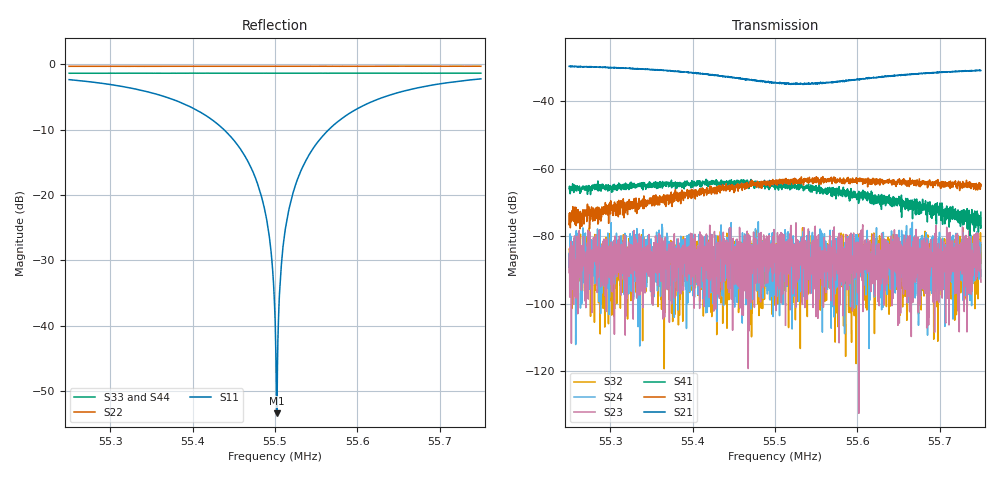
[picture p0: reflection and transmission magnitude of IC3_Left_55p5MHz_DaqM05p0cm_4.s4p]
#  HZ  S  DB  R  50.00
! Rohde & Schwarz Vector Network Analyzer
! Rohde-Schwarz,ZNB8-4Port,1311601044102961,2.82
! Created: UTC 2/13/2019, 9:21:15 AM
! freq[Hz]  db:S11  ang:S11  db:S12  ang:S12  db:S13  ang:S13  db:S14  ang:S14
!  db:S21  ang:S21  db:S22  ang:S22  db:S23  ang:S23  db:S24  ang:S24
!  db:S31  ang:S31  db:S32  ang:S32  db:S33  ang:S33  db:S34  ang:S34
!  db:S41  ang:S41  db:S42  ang:S42  db:S43  ang:S43  db:S44  ang:S44
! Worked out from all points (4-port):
!   2001 points, 55.25 MHz to 55.75 MHz, reference 50 ohm
!   strongest paths, dB at 55.25 MHz, 55.375 MHz, 55.5 MHz, 55.625 MHz, 55.75 MHz:
!     S21: -29.6, -30.9, -34.4, -32.8, -30.8
!     S31: -73.3, -71.1, -63.9, -63.4, -65.1
!     S41: -65.9, -64.8, -63.5, -68.2, -72.9
!     S23: -90.8, -83.1, -86.5, -91.9, -93.6
!     S24: -89.2, -94.1, -86.4, -89.1, -92.1
!     S32: -83.8, -98.6, -87.1, -83.6, -82.5
!   lowest |S11| = -53.4 dB at 55.5022 MHz (marker M1), VSWR 1.00, Z = 49.9 - j0.202 ohm
!   |S11| at or under -10 dB: 55.43783 MHz to 55.56543 MHz (127.6 kHz wide, 0.23 % of centre)
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5.525e7  -2.37 -141.9  -29.45 68.2  -76.70 -4.9  -66.40 -154.4
         -29.56 68.5  -0.33 94.2  -90.79 77.6  -89.20 -103.6
         -73.30 -8.2  -83.79 102.2  -1.39 34.9  -82.80 169.6
         -65.88 -152.3  -91.42 -31.3  -93.60 35.5  -1.39 28.5
5.54535e7  -12.19 167.8  -32.95 55.3  -65.32 -35.1  -64.95 163.3
           -33.04 55.4  -0.32 90.5  -86.19 -43.6  -89.92 52.6
           -65.02 -36.6  -83.79 -172.3  -1.38 32.5  -85.21 42.0
           -64.66 159.0  -77.41 -14.7  -109.38 -83.8  -1.37 26.0
5.5489e7  -23.19 155.6  -34.05 59.8  -63.67 -51.9  -65.46 153.5
          -34.20 59.9  -0.33 89.9  -88.68 -123.6  -83.29 136.7
          -64.88 -50.7  -93.56 -32.4  -1.38 32.0  -87.00 132.9
          -64.52 150.3  -84.02 65.9  -92.82 -18.5  -1.37 25.5
5.550225e7  -53.41 -109.0  -34.59 63.9  -64.47 -53.8  -64.93 143.5
            -34.53 62.7  -0.32 89.6  -86.64 100.8  -97.82 -36.7
            -64.47 -56.8  -85.04 -155.7  -1.38 31.9  -101.22 -81.1
            -64.02 137.2  -94.88 -58.4  -91.39 9.4  -1.37 25.4
5.551525e7  -23.25 -37.7  -34.66 66.4  -63.97 -56.5  -64.48 144.2
            -34.72 66.4  -0.32 89.4  -87.60 -63.8  -85.85 0.4
            -64.42 -62.0  -89.92 -175.5  -1.38 31.7  -91.73 33.1
            -65.00 133.4  -81.22 27.1  -99.60 -174.9  -1.37 25.2
5.555025e7  -12.20 -49.2  -34.47 75.5  -64.27 -72.3  -65.42 133.4
            -34.56 75.9  -0.32 88.7  -82.18 -33.5  -85.61 -58.6
            -62.31 -71.6  -84.03 -14.3  -1.38 31.3  -89.08 124.2
            -65.14 130.5  -88.83 -77.7  -89.51 -28.5  -1.37 24.8
5.575e7  -2.25 -101.2  -30.91 79.8  -63.98 -117.5  -76.20 94.6
         -30.82 79.8  -0.33 85.1  -93.60 27.5  -92.08 -153.7
         -65.08 -114.3  -82.47 133.4  -1.38 28.9  -90.27 -21.5
         -72.86 106.2  -102.86 100.0  -85.18 41.5  -1.37 22.3
